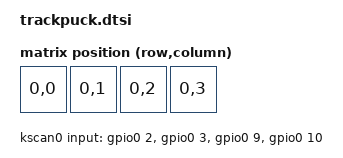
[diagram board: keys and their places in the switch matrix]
/*
 * Copyright (c) 2026 The ZMK Contributors
 *
 * SPDX-License-Identifier: MIT
 */

#include <dt-bindings/zmk/matrix_transform.h>
#include <physical_layouts.dtsi>

// shall use nfc pins
&uicr {
    nfct-pins-as-gpios;
};

/ {
	chosen {
		zmk,kscan = &kscan0;
	};

	default_transform: keymap_transform_0 {
		compatible = "zmk,matrix-transform";
		rows = <1>;
		columns = <4>;
		map = <
		// 	D3 P0.2   NFC1 P0.3   NFC1 P0.9   NFC2 P0.10
				RC(0,0)   RC(0,1)     RC(0,2)     RC(0,3)
		>;
	};

	kscan0: kscan {
    compatible = "zmk,kscan-gpio-direct";
		wakeup-source;
		input-gpios
			= <&gpio0 2 (GPIO_ACTIVE_LOW | GPIO_PULL_UP)>
			, <&gpio0 3 (GPIO_ACTIVE_LOW | GPIO_PULL_UP)>
			, <&gpio0 9 (GPIO_ACTIVE_LOW | GPIO_PULL_UP)>
			, <&gpio0 10 (GPIO_ACTIVE_LOW | GPIO_PULL_UP)>
			;
	};

	trackpuck_col_layout: trackpuck_col_layout {
			compatible = "zmk,physical-layout";
			display-name = "trackpuck";

			transform = <&default_transform>;
			kscan = <&kscan0>;

			keys  //                     w   h    x    y     rot    rx    ry
					= <&key_physical_attrs 100 100    0    0       0     0     0>
					, <&key_physical_attrs 100 100  100    0       0     0     0>
					, <&key_physical_attrs 100 100  200    0       0     0     0>
					, <&key_physical_attrs 100 100  300    0       0     0     0>
			;
	};

	trackpuck_position_map {
			compatible = "zmk,physical-layout-position-map";
			complete;
			ten {
					physical-layout = <&trackpuck_col_layout>;
					positions
							= < 0  1  2  3 >
					;
			};
	};

};
